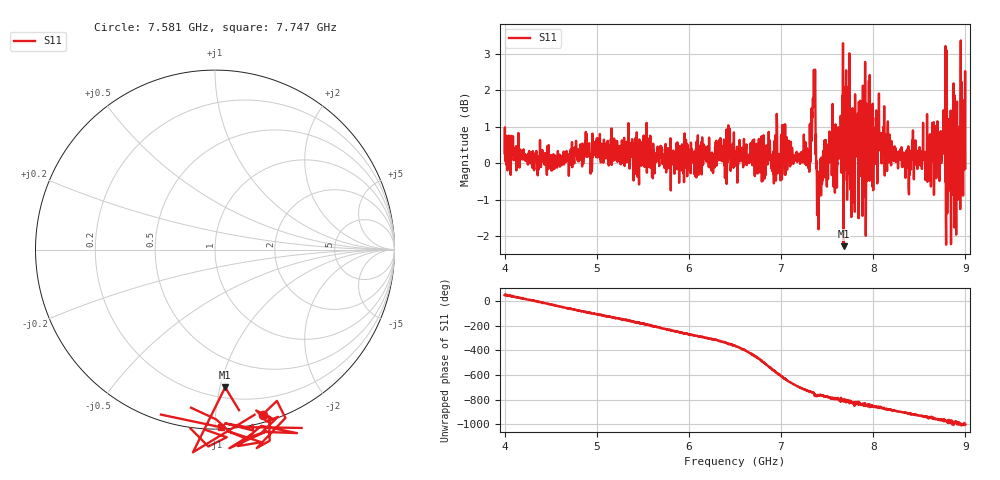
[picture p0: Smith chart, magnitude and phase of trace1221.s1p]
! Created with skrf 1.8.0 (http://scikit-rf.org).
# Hz S RI R 50.0
!freq ReS11 ImS11
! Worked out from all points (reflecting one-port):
!   1601 points, 4 GHz to 9 GHz, reference 50 ohm
!   lowest |S11| = -2.3 dB at 7.678 GHz (marker M1), VSWR 7.68, Z = 13.8 - j51.9 ohm
!   phase of S11 starts at 47 deg and turns -1048 deg over the sweep
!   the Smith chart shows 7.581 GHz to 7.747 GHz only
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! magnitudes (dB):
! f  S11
! 4 GHz  0.3
! 4.625 GHz  0.1
! 4.894 GHz  0.2
! 5.25 GHz  0.1
! 5.875 GHz  0.6
! 6.5 GHz  0.3
! 6.984 GHz  0.1
! 7.038 GHz  0.0
! 7.125 GHz  0.2
! 7.294 GHz  0.0
! 7.347 GHz  1.8
! 7.362 GHz  2.2
! 7.409 GHz  -1.0
! 7.538 GHz  0.5
! 7.588 GHz  0.1
! 7.647 GHz  1.3
! 7.678 GHz  -2.3
! 7.716 GHz  -1.0
! 7.75 GHz  -0.6
! 7.775 GHz  1.5
! 7.828 GHz  1.0
! 7.909 GHz  1.2
! 7.962 GHz  2.4
! 8.375 GHz  -0.1
! 8.759 GHz  0.5
! 8.919 GHz  0.1
! 8.972 GHz  0.5
! 9 GHz  -0.1
